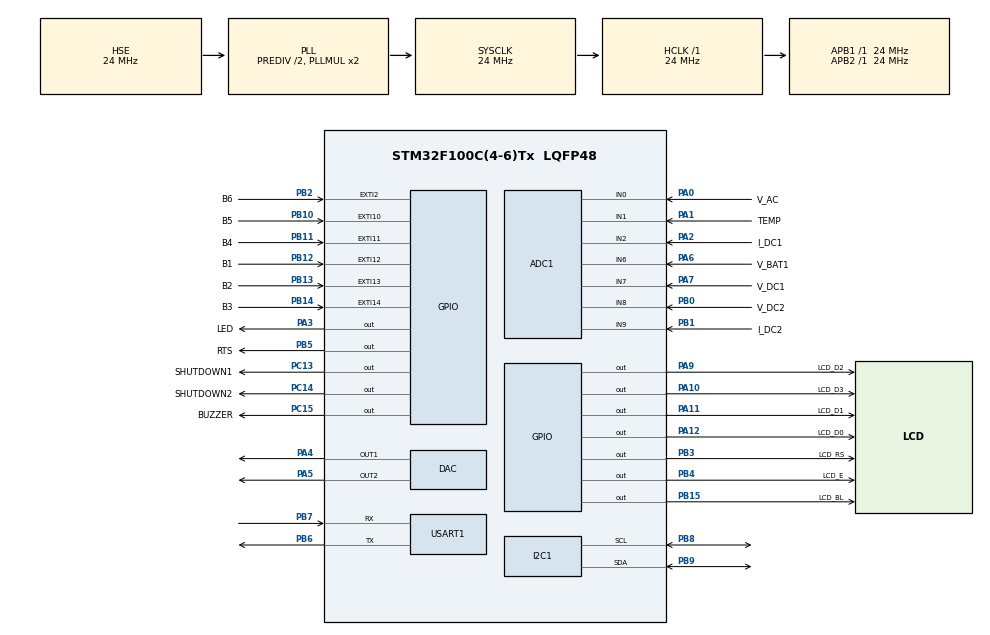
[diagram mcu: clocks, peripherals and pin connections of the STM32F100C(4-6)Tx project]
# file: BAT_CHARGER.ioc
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ADC1.Channel-12\#ChannelRegularConversion=ADC_CHANNEL_0
ADC1.Channel-13\#ChannelRegularConversion=ADC_CHANNEL_1
ADC1.Channel-14\#ChannelRegularConversion=ADC_CHANNEL_2
ADC1.Channel-15\#ChannelRegularConversion=ADC_CHANNEL_6
ADC1.Channel-16\#ChannelRegularConversion=ADC_CHANNEL_7
ADC1.Channel-17\#ChannelRegularConversion=ADC_CHANNEL_8
ADC1.Channel-18\#ChannelRegularConversion=ADC_CHANNEL_9
ADC1.ContinuousConvMode=DISABLE
ADC1.EnableInjectedConversion=DISABLE
ADC1.EnableRegularConversion=ENABLE
ADC1.ExternalTrigConv=ADC_EXTERNALTRIGCONV_T3_TRGO
ADC1.InjNumberOfConversion=4
ADC1.NbrOfConversion=7
ADC1.NbrOfConversionFlag=1
ADC1.Rank-12\#ChannelRegularConversion=1
ADC1.Rank-13\#ChannelRegularConversion=2
ADC1.Rank-14\#ChannelRegularConversion=3
ADC1.Rank-15\#ChannelRegularConversion=4
ADC1.Rank-16\#ChannelRegularConversion=5
ADC1.Rank-17\#ChannelRegularConversion=6
ADC1.Rank-18\#ChannelRegularConversion=7
ADC1.SamplingTime-12\#ChannelRegularConversion=ADC_SAMPLETIME_13CYCLES_5
ADC1.SamplingTime-13\#ChannelRegularConversion=ADC_SAMPLETIME_13CYCLES_5
ADC1.SamplingTime-14\#ChannelRegularConversion=ADC_SAMPLETIME_13CYCLES_5
ADC1.SamplingTime-15\#ChannelRegularConversion=ADC_SAMPLETIME_13CYCLES_5
ADC1.SamplingTime-16\#ChannelRegularConversion=ADC_SAMPLETIME_13CYCLES_5
ADC1.SamplingTime-17\#ChannelRegularConversion=ADC_SAMPLETIME_13CYCLES_5
ADC1.SamplingTime-18\#ChannelRegularConversion=ADC_SAMPLETIME_13CYCLES_5
ADC1.master=1
Dma.ADC1.0.Direction=DMA_PERIPH_TO_MEMORY
Dma.ADC1.0.Instance=DMA1_Channel1
Dma.ADC1.0.MemDataAlignment=DMA_MDATAALIGN_HALFWORD
Dma.ADC1.0.MemInc=DMA_MINC_ENABLE
Dma.ADC1.0.Mode=DMA_CIRCULAR
Dma.ADC1.0.PeriphDataAlignment=DMA_PDATAALIGN_HALFWORD
Dma.ADC1.0.PeriphInc=DMA_PINC_DISABLE
Dma.ADC1.0.Priority=DMA_PRIORITY_VERY_HIGH
Dma.Request0=ADC1
Mcu.Family=STM32F1
Mcu.Name=STM32F100C(4-6)Tx
Mcu.Package=LQFP48
NVIC.ADC1_IRQn=true\:0\:0\:false\:false\:true\:true\:true\:true
NVIC.DMA1_Channel1_IRQn=true\:0\:0\:false\:false\:true\:false\:true\:true
NVIC.EXTI15_10_IRQn=true\:15\:0\:true\:false\:true\:true\:true\:true
NVIC.EXTI2_IRQn=true\:15\:0\:true\:false\:true\:true\:true\:true
NVIC.PriorityGroup=NVIC_PRIORITYGROUP_4
NVIC.RCC_IRQn=true\:0\:0\:false\:false\:true\:true\:false\:true
NVIC.TIM2_IRQn=true\:0\:0\:false\:false\:true\:true\:true\:true
NVIC.TIM3_IRQn=true\:0\:0\:false\:false\:true\:true\:true\:true
NVIC.TIM7_IRQn=true\:0\:0\:false\:false\:true\:true\:true\:true
PA0-WKUP.GPIO_Label=V_AC
PA0-WKUP.Signal=ADCx_IN0
PA1.GPIO_Label=TEMP
PA1.Signal=ADCx_IN1
PA10.GPIO_Label=LCD_D3
PA10.Signal=GPIO_Output
PA11.GPIO_Label=LCD_D1
PA11.Signal=GPIO_Output
PA12.GPIO_Label=LCD_D0
PA12.Signal=GPIO_Output
PA13.Mode=Serial_Wire
PA13.Signal=SYS_JTMS-SWDIO
PA14.Mode=Serial_Wire
PA14.Signal=SYS_JTCK-SWCLK
PA15.Signal=S_TIM2_CH1_ETR
PA2.GPIO_Label=I_DC1
PA2.Signal=ADCx_IN2
PA3.GPIO_Label=LED
PA3.PinState=GPIO_PIN_SET
PA3.Signal=GPIO_Output
PA4.Signal=COMP_DAC1_group
PA5.Signal=COMP_DAC2_group
PA6.GPIO_Label=V_BAT1
PA6.Signal=ADCx_IN6
PA7.GPIO_Label=V_DC1
PA7.Signal=ADCx_IN7
PA8.Signal=S_TIM1_CH1
PA9.GPIO_Label=LCD_D2
PA9.Signal=GPIO_Output
PB0.GPIO_Label=V_DC2
PB0.Signal=ADCx_IN8
PB1.GPIO_Label=I_DC2
PB1.Signal=ADCx_IN9
PB10.GPIO_Label=B5
PB10.Signal=GPXTI10
PB11.GPIO_Label=B4
PB11.Signal=GPXTI11
PB12.GPIO_Label=B1
PB12.Signal=GPXTI12
PB13.GPIO_Label=B2
PB13.Signal=GPXTI13
PB14.GPIO_Label=B3
PB14.Signal=GPXTI14
PB15.GPIO_Label=LCD_BL
PB15.Signal=GPIO_Output
PB2.GPIO_Label=B6
PB2.Signal=GPXTI2
PB3.GPIO_Label=LCD_RS
PB3.Signal=GPIO_Output
PB4.GPIO_Label=LCD_E
PB4.Signal=GPIO_Output
PB5.GPIO_Label=RTS
PB5.Signal=GPIO_Output
PB6.Mode=Asynchronous
PB6.Signal=USART1_TX
PB7.Mode=Asynchronous
PB7.Signal=USART1_RX
PB8.Mode=I2C
PB8.Signal=I2C1_SCL
PB9.Mode=I2C
PB9.Signal=I2C1_SDA
PC13-TAMPER-RTC.GPIO_Label=SHUTDOWN1
PC13-TAMPER-RTC.Signal=GPIO_Output
PC14-OSC32_IN.GPIO_Label=SHUTDOWN2
PC14-OSC32_IN.Signal=GPIO_Output
PC15-OSC32_OUT.GPIO_Label=BUZZER
PC15-OSC32_OUT.Signal=GPIO_Output
PD0-OSC_IN.Mode=HSE-External-Oscillator
PD0-OSC_IN.Signal=RCC_OSC_IN
PD1-OSC_OUT.Mode=HSE-External-Oscillator
PD1-OSC_OUT.Signal=RCC_OSC_OUT
ProjectManager.HeapSize=0x200
ProjectManager.StackSize=0x400
ProjectManager.TargetToolchain=STM32CubeIDE
RCC.AHBFreq_Value=24000000
RCC.APB1Freq_Value=24000000
RCC.APB1TimFreq_Value=24000000
RCC.APB2Freq_Value=24000000
RCC.APB2TimFreq_Value=24000000
RCC.EnbaleCSS=true
RCC.HCLKFreq_Value=24000000
RCC.HSEDivPLL=RCC_HSE_PREDIV_DIV2
RCC.HSE_VALUE=24000000
RCC.PLLSource=RCC_PLLSOURCE_HSE
RCC.SYSCLKFreq_VALUE=24000000
RCC.SYSCLKSource=RCC_SYSCLKSOURCE_PLLCLK
SH.ADCx_IN0.0=ADC1_IN0,IN0
SH.ADCx_IN1.0=ADC1_IN1,IN1
SH.ADCx_IN2.0=ADC1_IN2,IN2
SH.ADCx_IN6.0=ADC1_IN6,IN6
SH.ADCx_IN7.0=ADC1_IN7,IN7
SH.ADCx_IN8.0=ADC1_IN8,IN8
SH.ADCx_IN9.0=ADC1_IN9,IN9
SH.COMP_DAC1_group.0=DAC_OUT1,DAC_OUT1
SH.COMP_DAC2_group.0=DAC_OUT2,DAC_OUT2
SH.S_TIM1_CH1.0=TIM1_CH1
SH.S_TIM2_CH1_ETR.0=TIM2_CH1
STMicroelectronics.X-CUBE-ALGOBUILD.1.4.0.LibraryCcDSPOoLibraryJjDSPOoLibrary=true
TIM2.Period=999
TIM2.Prescaler=2399
TIM3.Period=999
TIM3.Prescaler=23
TIM3.TIM_MasterOutputTrigger=TIM_TRGO_UPDATE
TIM7.Period=9999
TIM7.Prescaler=239
TIM7.TIM_MasterOutputTrigger=TIM_TRGO_UPDATE
USART1.VirtualMode=VM_ASYNC
VP_STMicroelectronics.X-CUBE-ALGOBUILD_VS_DSPOoLibraryJjLibrary_1.4.0_1.4.0.Mode=DSPOoLibraryJjLibrary
VP_TIM2_VS_ClockSourceINT.Mode=Internal
VP_TIM3_VS_ClockSourceINT.Mode=Internal
VP_TIM7_VS_ClockSourceINT.Mode=Enable_Timer
board=custom

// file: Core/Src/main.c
/* USER CODE BEGIN Header */
/**
  ******************************************************************************
  * @file           : main.c
  * @brief          : Main program body
  ******************************************************************************
  * @attention
  *
  * Copyright (c) 2025 STMicroelectronics.
  * All rights reserved.
  *
  * This software is licensed under terms that can be found in the LICENSE file
  * in the root directory of this software component.
  * If no LICENSE file comes with this software, it is provided AS-IS.
  *
  ******************************************************************************
  */
/* USER CODE END Header */
#include "main.h"

/* USER CODE BEGIN Includes */
#include "lcd.h"
#include "adc.h"
#include "lcdMenu.h"
#include "out_control.h"
/* USER CODE END Includes */

DAC_HandleTypeDef hdac;

I2C_HandleTypeDef hi2c1;

TIM_HandleTypeDef htim2;
TIM_HandleTypeDef htim3;
TIM_HandleTypeDef htim7;

UART_HandleTypeDef huart1;

/* USER CODE BEGIN PV */
int16_t dacValueV = 1050;
int16_t dacValueI = 0;
uint8_t mainCounter = 0;
/* USER CODE END PV */

void SystemClock_Config(void);
static void MX_GPIO_Init(void);
static void MX_DMA_Init(void);
static void MX_ADC1_Init(void);
static void MX_DAC_Init(void);
static void MX_I2C1_Init(void);
static void MX_USART1_UART_Init(void);
static void MX_TIM3_Init(void);
static void MX_TIM7_Init(void);
static void MX_TIM2_Init(void);

int main(void)
{

  /* MCU Configuration--------------------------------------------------------*/

  /* Reset of all peripherals, Initializes the Flash interface and the Systick. */
  HAL_Init();

  /* Configure the system clock */
  SystemClock_Config();

  /* Initialize all configured peripherals */
  MX_GPIO_Init();
  MX_DMA_Init();
  MX_ADC1_Init();
  MX_DAC_Init();
  MX_I2C1_Init();
  MX_USART1_UART_Init();
  MX_TIM3_Init();
  MX_TIM7_Init();
  MX_TIM2_Init();
  /* USER CODE BEGIN 2 */
  adc_init();
  HAL_TIM_Base_Start(&htim3);

  LCD_Backlight(1);
  LCD_Init();
  /* USER CODE END 2 */

  /* Infinite loop */
  /* USER CODE BEGIN WHILE */
  HAL_DAC_Start(&hdac, DAC_CHANNEL_1);
  HAL_DAC_Start(&hdac, DAC_CHANNEL_2);

  HAL_GPIO_WritePin(LCD_BL_GPIO_Port,LCD_BL_Pin, 0);
  HAL_GPIO_WritePin(SHUTDOWN1_GPIO_Port, SHUTDOWN1_Pin, 0);
  HAL_GPIO_WritePin(SHUTDOWN2_GPIO_Port, SHUTDOWN2_Pin, 0);

  HAL_DAC_SetValue(&hdac, DAC_CHANNEL_2, DAC_ALIGN_12B_R, 0);
  HAL_DAC_SetValue(&hdac, DAC_CHANNEL_1, DAC_ALIGN_12B_R, 4095);

  pageID = 0;
  lcd_handle();
  HAL_GPIO_WritePin(BUZZER_GPIO_Port, BUZZER_Pin, 1);
  HAL_Delay(250);
  HAL_GPIO_WritePin(BUZZER_GPIO_Port, BUZZER_Pin, 0);
  HAL_Delay(2500);
  pageID = 1;
  while (1)
  {
	  switch(mainCounter)
	  {
	  case 0:
		  adcTEMP = adcMeanSum[listTEMP - 1] >> SAMPLE_2N ;
		  mainCounter++;
		  break;
	  case 1:
		  adcIDC = adcMeanSum[listIDC - 1] >> SAMPLE_2N ;
		  mainCounter++;
		  break;
	  case 2:
		  adcVBAT1 = adcMeanSum[listVBAT1 - 1] >> SAMPLE_2N ;
		  mainCounter++;
		  break;
	  case 3:
		  adcVDC1 = adcMeanSum[listVDC1 - 1] >> SAMPLE_2N ;
		  mainCounter++;
		  break;
	  case 4:
		  adcVDC2 = adcMeanSum[listVDC2 - 1] >> SAMPLE_2N ;
		  mainCounter++;
		  break;
	  case 5:
		  adcIDC2NoGain = adcMeanSum[listIDC2 - 1] >> SAMPLE_2N ;
		  if(adcIDC2NoGain <= 50)
		  {
			  adcIDC2 = (q15_t)(((int32_t)(adcIDC2NoGain) * adcGain[listIDC2]) >> 15);
		  }

		  else if(adcIDC2NoGain <= 150)
		  {
			  adcIDC2 = (q15_t)(((int32_t)(adcIDC2NoGain) * adcGain[listIDC2 + 1]) >> 15);
		  }

		  else if(adcIDC2NoGain <= 350)
		  {
			  adcIDC2 = (q15_t)(((int32_t)(adcIDC2NoGain) * adcGain[listIDC2 + 2]) >> 15);
		  }

		  else if(adcIDC2NoGain > 350)
		  {
			  adcIDC2 = (q15_t)(((int32_t)(adcIDC2NoGain) * adcGain[listIDC2 + 3]) >> 15);
		  }

		  mainCounter++;
		  break;
	  case 6:
		  adcVAC = sqrt((double) (adcRmsSum / N_VALUE) );
		  mainCounter++;
		  break;
	  case 7:
		  if(deviceOn == 1)
		  {
			  outCalculation();
		  }
	  case 8:
		  lcd_handle();
		  mainCounter++;
		  break;
	  case 9:
		  button_handle();
		  mainCounter++;
		  break;
	  case 10 :
		  calculationTemp(adcTEMP);
		  mainCounter++;
		  break;
	  default:
		  mainCounter = 0;
		  break;
	  }

    /* USER CODE END WHILE */

  }
}

void SystemClock_Config(void)
{
  RCC_OscInitTypeDef RCC_OscInitStruct = {0};
  RCC_ClkInitTypeDef RCC_ClkInitStruct = {0};
  RCC_PeriphCLKInitTypeDef PeriphClkInit = {0};

  /** Initializes the RCC Oscillators according to the specified parameters
  * in the RCC_OscInitTypeDef structure.
  */
  RCC_OscInitStruct.OscillatorType = RCC_OSCILLATORTYPE_HSE;
  RCC_OscInitStruct.HSEState = RCC_HSE_ON;
  RCC_OscInitStruct.HSEPredivValue = RCC_HSE_PREDIV_DIV2;
  RCC_OscInitStruct.PLL.PLLState = RCC_PLL_ON;
  RCC_OscInitStruct.PLL.PLLSource = RCC_PLLSOURCE_HSE;
  RCC_OscInitStruct.PLL.PLLMUL = RCC_PLL_MUL2;
  if (HAL_RCC_OscConfig(&RCC_OscInitStruct) != HAL_OK)
  {
    Error_Handler();
  }

  /** Initializes the CPU, AHB and APB buses clocks
  */
  RCC_ClkInitStruct.ClockType = RCC_CLOCKTYPE_HCLK|RCC_CLOCKTYPE_SYSCLK
                              |RCC_CLOCKTYPE_PCLK1|RCC_CLOCKTYPE_PCLK2;
  RCC_ClkInitStruct.SYSCLKSource = RCC_SYSCLKSOURCE_PLLCLK;
  RCC_ClkInitStruct.AHBCLKDivider = RCC_SYSCLK_DIV1;
  RCC_ClkInitStruct.APB1CLKDivider = RCC_HCLK_DIV1;
  RCC_ClkInitStruct.APB2CLKDivider = RCC_HCLK_DIV1;

  if (HAL_RCC_ClockConfig(&RCC_ClkInitStruct, FLASH_LATENCY_0) != HAL_OK)
  {
    Error_Handler();
  }
  PeriphClkInit.PeriphClockSelection = RCC_PERIPHCLK_ADC;
  PeriphClkInit.AdcClockSelection = RCC_ADCPCLK2_DIV2;
  if (HAL_RCCEx_PeriphCLKConfig(&PeriphClkInit) != HAL_OK)
  {
    Error_Handler();
  }

  /** Enables the Clock Security System
  */
  HAL_RCC_EnableCSS();
}

static void MX_ADC1_Init(void)
{

  LL_ADC_InitTypeDef ADC_InitStruct = {0};
  LL_ADC_REG_InitTypeDef ADC_REG_InitStruct = {0};

  LL_GPIO_InitTypeDef GPIO_InitStruct = {0};

  /* Peripheral clock enable */
  LL_APB2_GRP1_EnableClock(LL_APB2_GRP1_PERIPH_ADC1);

  LL_APB2_GRP1_EnableClock(LL_APB2_GRP1_PERIPH_GPIOA);
  LL_APB2_GRP1_EnableClock(LL_APB2_GRP1_PERIPH_GPIOB);
  /**ADC1 GPIO Configuration
  PA0-WKUP   ------> ADC1_IN0
  PA1   ------> ADC1_IN1
  PA2   ------> ADC1_IN2
  PA6   ------> ADC1_IN6
  PA7   ------> ADC1_IN7
  PB0   ------> ADC1_IN8
  PB1   ------> ADC1_IN9
  */
  GPIO_InitStruct.Pin = LL_GPIO_PIN_0|LL_GPIO_PIN_1|LL_GPIO_PIN_2|LL_GPIO_PIN_6
                          |LL_GPIO_PIN_7;
  GPIO_InitStruct.Mode = LL_GPIO_MODE_ANALOG;
  LL_GPIO_Init(GPIOA, &GPIO_InitStruct);

  GPIO_InitStruct.Pin = LL_GPIO_PIN_0|LL_GPIO_PIN_1;
  GPIO_InitStruct.Mode = LL_GPIO_MODE_ANALOG;
  LL_GPIO_Init(GPIOB, &GPIO_InitStruct);

  /* ADC1 DMA Init */

  /* ADC1 Init */
  LL_DMA_SetDataTransferDirection(DMA1, LL_DMA_CHANNEL_1, LL_DMA_DIRECTION_PERIPH_TO_MEMORY);

  LL_DMA_SetChannelPriorityLevel(DMA1, LL_DMA_CHANNEL_1, LL_DMA_PRIORITY_VERYHIGH);

  LL_DMA_SetMode(DMA1, LL_DMA_CHANNEL_1, LL_DMA_MODE_CIRCULAR);

  LL_DMA_SetPeriphIncMode(DMA1, LL_DMA_CHANNEL_1, LL_DMA_PERIPH_NOINCREMENT);

  LL_DMA_SetMemoryIncMode(DMA1, LL_DMA_CHANNEL_1, LL_DMA_MEMORY_INCREMENT);

  LL_DMA_SetPeriphSize(DMA1, LL_DMA_CHANNEL_1, LL_DMA_PDATAALIGN_HALFWORD);

  LL_DMA_SetMemorySize(DMA1, LL_DMA_CHANNEL_1, LL_DMA_MDATAALIGN_HALFWORD);

  /* ADC1 interrupt Init */
  NVIC_SetPriority(ADC1_IRQn, NVIC_EncodePriority(NVIC_GetPriorityGrouping(),0, 0));
  NVIC_EnableIRQ(ADC1_IRQn);

  /** Common config
  */
  ADC_InitStruct.DataAlignment = LL_ADC_DATA_ALIGN_RIGHT;
  ADC_InitStruct.SequencersScanMode = LL_ADC_SEQ_SCAN_ENABLE;
  LL_ADC_Init(ADC1, &ADC_InitStruct);
  ADC_REG_InitStruct.TriggerSource = LL_ADC_REG_TRIG_EXT_TIM3_TRGO;
  ADC_REG_InitStruct.SequencerLength = LL_ADC_REG_SEQ_SCAN_ENABLE_7RANKS;
  ADC_REG_InitStruct.SequencerDiscont = LL_ADC_REG_SEQ_DISCONT_DISABLE;
  ADC_REG_InitStruct.ContinuousMode = LL_ADC_REG_CONV_SINGLE;
  ADC_REG_InitStruct.DMATransfer = LL_ADC_REG_DMA_TRANSFER_UNLIMITED;
  LL_ADC_REG_Init(ADC1, &ADC_REG_InitStruct);

  /** Configure Regular Channel
  */
  LL_ADC_REG_SetSequencerRanks(ADC1, LL_ADC_REG_RANK_1, LL_ADC_CHANNEL_0);
  LL_ADC_SetChannelSamplingTime(ADC1, LL_ADC_CHANNEL_0, LL_ADC_SAMPLINGTIME_13CYCLES_5);

  /** Configure Regular Channel
  */
  LL_ADC_REG_SetSequencerRanks(ADC1, LL_ADC_REG_RANK_2, LL_ADC_CHANNEL_1);
  LL_ADC_SetChannelSamplingTime(ADC1, LL_ADC_CHANNEL_1, LL_ADC_SAMPLINGTIME_13CYCLES_5);

  /** Configure Regular Channel
  */
  LL_ADC_REG_SetSequencerRanks(ADC1, LL_ADC_REG_RANK_3, LL_ADC_CHANNEL_2);
  LL_ADC_SetChannelSamplingTime(ADC1, LL_ADC_CHANNEL_2, LL_ADC_SAMPLINGTIME_13CYCLES_5);

  /** Configure Regular Channel
  */
  LL_ADC_REG_SetSequencerRanks(ADC1, LL_ADC_REG_RANK_4, LL_ADC_CHANNEL_6);
  LL_ADC_SetChannelSamplingTime(ADC1, LL_ADC_CHANNEL_6, LL_ADC_SAMPLINGTIME_13CYCLES_5);

  /** Configure Regular Channel
  */
  LL_ADC_REG_SetSequencerRanks(ADC1, LL_ADC_REG_RANK_5, LL_ADC_CHANNEL_7);
  LL_ADC_SetChannelSamplingTime(ADC1, LL_ADC_CHANNEL_7, LL_ADC_SAMPLINGTIME_13CYCLES_5);

  /** Configure Regular Channel
  */
  LL_ADC_REG_SetSequencerRanks(ADC1, LL_ADC_REG_RANK_6, LL_ADC_CHANNEL_8);
  LL_ADC_SetChannelSamplingTime(ADC1, LL_ADC_CHANNEL_8, LL_ADC_SAMPLINGTIME_13CYCLES_5);

  /** Configure Regular Channel
  */
  LL_ADC_REG_SetSequencerRanks(ADC1, LL_ADC_REG_RANK_7, LL_ADC_CHANNEL_9);
  LL_ADC_SetChannelSamplingTime(ADC1, LL_ADC_CHANNEL_9, LL_ADC_SAMPLINGTIME_13CYCLES_5);

}

static void MX_DAC_Init(void)
{

  DAC_ChannelConfTypeDef sConfig = {0};

  /** DAC Initialization
  */
  hdac.Instance = DAC;
  if (HAL_DAC_Init(&hdac) != HAL_OK)
  {
    Error_Handler();
  }

  /** DAC channel OUT1 config
  */
  sConfig.DAC_Trigger = DAC_TRIGGER_NONE;
  sConfig.DAC_OutputBuffer = DAC_OUTPUTBUFFER_ENABLE;
  if (HAL_DAC_ConfigChannel(&hdac, &sConfig, DAC_CHANNEL_1) != HAL_OK)
  {
    Error_Handler();
  }

  /** DAC channel OUT2 config
  */
  if (HAL_DAC_ConfigChannel(&hdac, &sConfig, DAC_CHANNEL_2) != HAL_OK)
  {
    Error_Handler();
  }

}

static void MX_I2C1_Init(void)
{

  hi2c1.Instance = I2C1;
  hi2c1.Init.ClockSpeed = 100000;
  hi2c1.Init.DutyCycle = I2C_DUTYCYCLE_2;
  hi2c1.Init.OwnAddress1 = 0;
  hi2c1.Init.AddressingMode = I2C_ADDRESSINGMODE_7BIT;
  hi2c1.Init.DualAddressMode = I2C_DUALADDRESS_DISABLE;
  hi2c1.Init.OwnAddress2 = 0;
  hi2c1.Init.GeneralCallMode = I2C_GENERALCALL_DISABLE;
  hi2c1.Init.NoStretchMode = I2C_NOSTRETCH_DISABLE;
  if (HAL_I2C_Init(&hi2c1) != HAL_OK)
  {
    Error_Handler();
  }

}

static void MX_TIM2_Init(void)
{

  TIM_ClockConfigTypeDef sClockSourceConfig = {0};
  TIM_MasterConfigTypeDef sMasterConfig = {0};

  htim2.Instance = TIM2;
  htim2.Init.Prescaler = 2399;
  htim2.Init.CounterMode = TIM_COUNTERMODE_UP;
  htim2.Init.Period = 999;
  htim2.Init.ClockDivision = TIM_CLOCKDIVISION_DIV1;
  htim2.Init.AutoReloadPreload = TIM_AUTORELOAD_PRELOAD_DISABLE;
  if (HAL_TIM_Base_Init(&htim2) != HAL_OK)
  {
    Error_Handler();
  }
  sClockSourceConfig.ClockSource = TIM_CLOCKSOURCE_INTERNAL;
  if (HAL_TIM_ConfigClockSource(&htim2, &sClockSourceConfig) != HAL_OK)
  {
    Error_Handler();
  }
  sMasterConfig.MasterOutputTrigger = TIM_TRGO_RESET;
  sMasterConfig.MasterSlaveMode = TIM_MASTERSLAVEMODE_DISABLE;
  if (HAL_TIMEx_MasterConfigSynchronization(&htim2, &sMasterConfig) != HAL_OK)
  {
    Error_Handler();
  }

}

static void MX_TIM3_Init(void)
{

  TIM_ClockConfigTypeDef sClockSourceConfig = {0};
  TIM_MasterConfigTypeDef sMasterConfig = {0};

  htim3.Instance = TIM3;
  htim3.Init.Prescaler = 23;
  htim3.Init.CounterMode = TIM_COUNTERMODE_UP;
  htim3.Init.Period = 999;
  htim3.Init.ClockDivision = TIM_CLOCKDIVISION_DIV1;
  htim3.Init.AutoReloadPreload = TIM_AUTORELOAD_PRELOAD_DISABLE;
  if (HAL_TIM_Base_Init(&htim3) != HAL_OK)
  {
    Error_Handler();
  }
  sClockSourceConfig.ClockSource = TIM_CLOCKSOURCE_INTERNAL;
  if (HAL_TIM_ConfigClockSource(&htim3, &sClockSourceConfig) != HAL_OK)
  {
    Error_Handler();
  }
  sMasterConfig.MasterOutputTrigger = TIM_TRGO_UPDATE;
  sMasterConfig.MasterSlaveMode = TIM_MASTERSLAVEMODE_DISABLE;
  if (HAL_TIMEx_MasterConfigSynchronization(&htim3, &sMasterConfig) != HAL_OK)
  {
    Error_Handler();
  }

}

static void MX_TIM7_Init(void)
{

  TIM_MasterConfigTypeDef sMasterConfig = {0};

  htim7.Instance = TIM7;
  htim7.Init.Prescaler = 239;
  htim7.Init.CounterMode = TIM_COUNTERMODE_UP;
  htim7.Init.Period = 9999;
  htim7.Init.AutoReloadPreload = TIM_AUTORELOAD_PRELOAD_DISABLE;
  if (HAL_TIM_Base_Init(&htim7) != HAL_OK)
  {
    Error_Handler();
  }
  sMasterConfig.MasterOutputTrigger = TIM_TRGO_UPDATE;
  sMasterConfig.MasterSlaveMode = TIM_MASTERSLAVEMODE_DISABLE;
  if (HAL_TIMEx_MasterConfigSynchronization(&htim7, &sMasterConfig) != HAL_OK)
  {
    Error_Handler();
  }

}

static void MX_USART1_UART_Init(void)
{

  huart1.Instance = USART1;
  huart1.Init.BaudRate = 115200;
  huart1.Init.WordLength = UART_WORDLENGTH_8B;
  huart1.Init.StopBits = UART_STOPBITS_1;
  huart1.Init.Parity = UART_PARITY_NONE;
  huart1.Init.Mode = UART_MODE_TX_RX;
  huart1.Init.HwFlowCtl = UART_HWCONTROL_NONE;
  huart1.Init.OverSampling = UART_OVERSAMPLING_16;
  if (HAL_UART_Init(&huart1) != HAL_OK)
  {
    Error_Handler();
  }

}

static void MX_DMA_Init(void)
{

  /* Init with LL driver */
  /* DMA controller clock enable */
  LL_AHB1_GRP1_EnableClock(LL_AHB1_GRP1_PERIPH_DMA1);

  /* DMA interrupt init */
  /* DMA1_Channel1_IRQn interrupt configuration */
  NVIC_SetPriority(DMA1_Channel1_IRQn, NVIC_EncodePriority(NVIC_GetPriorityGrouping(),0, 0));
  NVIC_EnableIRQ(DMA1_Channel1_IRQn);

}

static void MX_GPIO_Init(void)
{
  GPIO_InitTypeDef GPIO_InitStruct = {0};

  /* GPIO Ports Clock Enable */
  __HAL_RCC_GPIOC_CLK_ENABLE();
  __HAL_RCC_GPIOD_CLK_ENABLE();
  __HAL_RCC_GPIOA_CLK_ENABLE();
  __HAL_RCC_GPIOB_CLK_ENABLE();

  /*Configure GPIO pin Output Level */
  HAL_GPIO_WritePin(GPIOC, SHUTDOWN1_Pin|SHUTDOWN2_Pin|BUZZER_Pin, GPIO_PIN_RESET);

  /*Configure GPIO pin Output Level */
  HAL_GPIO_WritePin(LED_GPIO_Port, LED_Pin, GPIO_PIN_SET);

  /*Configure GPIO pin Output Level */
  HAL_GPIO_WritePin(GPIOB, LCD_BL_Pin|LCD_RS_Pin|LCD_E_Pin|RTS_Pin, GPIO_PIN_RESET);

  /*Configure GPIO pin Output Level */
  HAL_GPIO_WritePin(GPIOA, LCD_D2_Pin|LCD_D3_Pin|LCD_D1_Pin|LCD_D0_Pin, GPIO_PIN_RESET);

  /*Configure GPIO pins : SHUTDOWN1_Pin SHUTDOWN2_Pin BUZZER_Pin */
  GPIO_InitStruct.Pin = SHUTDOWN1_Pin|SHUTDOWN2_Pin|BUZZER_Pin;
  GPIO_InitStruct.Mode = GPIO_MODE_OUTPUT_PP;
  GPIO_InitStruct.Pull = GPIO_NOPULL;
  GPIO_InitStruct.Speed = GPIO_SPEED_FREQ_LOW;
  HAL_GPIO_Init(GPIOC, &GPIO_InitStruct);

  /*Configure GPIO pins : LED_Pin LCD_D2_Pin LCD_D3_Pin LCD_D1_Pin
                           LCD_D0_Pin */
  GPIO_InitStruct.Pin = LED_Pin|LCD_D2_Pin|LCD_D3_Pin|LCD_D1_Pin
                          |LCD_D0_Pin;
  GPIO_InitStruct.Mode = GPIO_MODE_OUTPUT_PP;
  GPIO_InitStruct.Pull = GPIO_NOPULL;
  GPIO_InitStruct.Speed = GPIO_SPEED_FREQ_LOW;
  HAL_GPIO_Init(GPIOA, &GPIO_InitStruct);

  /*Configure GPIO pins : B6_Pin B5_Pin B4_Pin B1_Pin
                           B2_Pin B3_Pin */
  GPIO_InitStruct.Pin = B6_Pin|B5_Pin|B4_Pin|B1_Pin
                          |B2_Pin|B3_Pin;
  GPIO_InitStruct.Mode = GPIO_MODE_IT_RISING;
  GPIO_InitStruct.Pull = GPIO_NOPULL;
  HAL_GPIO_Init(GPIOB, &GPIO_InitStruct);

  /*Configure GPIO pins : LCD_BL_Pin LCD_RS_Pin LCD_E_Pin RTS_Pin */
  GPIO_InitStruct.Pin = LCD_BL_Pin|LCD_RS_Pin|LCD_E_Pin|RTS_Pin;
  GPIO_InitStruct.Mode = GPIO_MODE_OUTPUT_PP;
  GPIO_InitStruct.Pull = GPIO_NOPULL;
  GPIO_InitStruct.Speed = GPIO_SPEED_FREQ_LOW;
  HAL_GPIO_Init(GPIOB, &GPIO_InitStruct);

  /*Configure GPIO pin : PA8 */
  GPIO_InitStruct.Pin = GPIO_PIN_8;
  GPIO_InitStruct.Mode = GPIO_MODE_AF_PP;
  GPIO_InitStruct.Speed = GPIO_SPEED_FREQ_LOW;
  HAL_GPIO_Init(GPIOA, &GPIO_InitStruct);

  /* EXTI interrupt init*/
  HAL_NVIC_SetPriority(EXTI2_IRQn, 15, 0);
  HAL_NVIC_EnableIRQ(EXTI2_IRQn);

  HAL_NVIC_SetPriority(EXTI15_10_IRQn, 15, 0);
  HAL_NVIC_EnableIRQ(EXTI15_10_IRQn);

}

void Error_Handler(void)
{
  __disable_irq();
  while (1)
  {
  }
}
